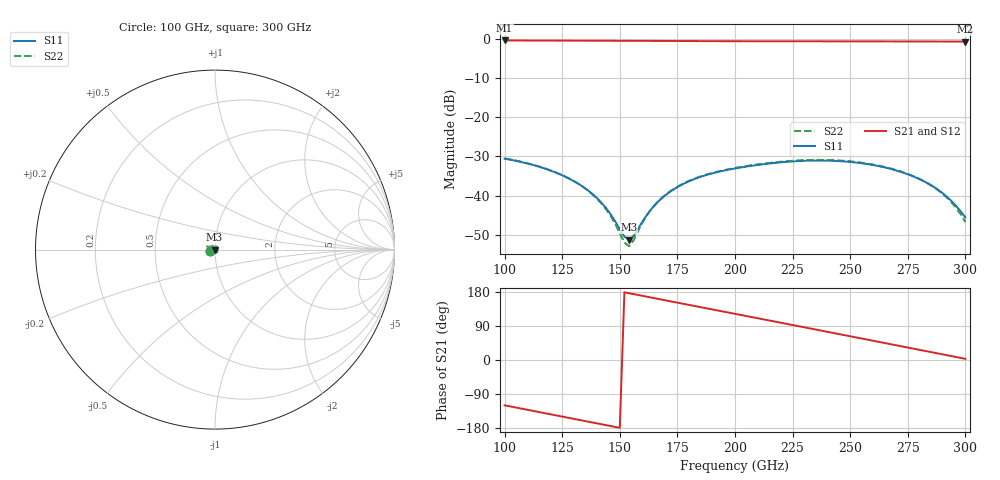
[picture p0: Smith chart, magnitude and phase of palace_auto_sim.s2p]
#  GHZ S DB R 50
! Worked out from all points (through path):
!   101 points, 100 GHz to 300 GHz, reference 50 ohm
!   highest |S21| = -0.44 dB at 100 GHz (marker M1); lowest = -0.7 dB at 300 GHz (marker M2)
!   group delay of S21, straight-line fit = 3.29 ps
!   lowest |S11| = -51.3 dB at 154 GHz (marker M3), VSWR 1.01, Z = 49.7 - j0.0963 ohm
!   |S11| at or under -10 dB: start of sweep to end of sweep
!   |S22| runs from -52.9 to -30.5 dB; largest |S21 - S12| = 1.6e-14
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100  -30.61 -167.3  -0.44 -119.6  -0.44 -119.6  -30.54 -167.0
120  -33.64 165.6  -0.47 -143.4  -0.47 -143.4  -33.61 165.7
134  -37.76 150.0  -0.49 -160.0  -0.49 -160.0  -37.80 149.6
140  -40.60 146.3  -0.50 -167.1  -0.50 -167.1  -40.73 145.1
144  -43.18 146.7  -0.51 -171.9  -0.51 -171.9  -43.45 144.9
148  -46.59 153.5  -0.52 -176.6  -0.52 -176.6  -47.22 150.8
152  -50.49 178.1  -0.53 178.6  -0.53 178.6  -52.00 177.6
154  -51.27 -159.2  -0.53 176.2  -0.53 176.2  -52.93 -154.1
156  -50.33 -137.2  -0.54 173.9  -0.54 173.9  -51.39 -128.3
162  -44.73 -110.1  -0.55 166.7  -0.55 166.7  -44.82 -103.1
168  -40.80 -107.8  -0.56 159.6  -0.56 159.6  -40.74 -102.5
174  -38.20 -111.3  -0.58 152.5  -0.58 152.5  -38.11 -106.8
182  -35.89 -118.7  -0.60 143.0  -0.60 143.0  -35.78 -114.7
200  -33.10 -136.2  -0.63 121.8  -0.63 121.8  -32.98 -132.4
218  -31.65 -152.9  -0.64 100.6  -0.64 100.6  -31.49 -149.4
234  -31.09 -169.3  -0.65 81.6  -0.65 81.6  -30.92 -166.0
250  -31.44 173.1  -0.67 62.6  -0.67 62.6  -31.29 176.0
268  -33.28 153.5  -0.68 41.2  -0.68 41.2  -33.18 155.8
280  -35.79 142.0  -0.70 26.9  -0.70 26.9  -35.76 143.4
288  -38.48 136.9  -0.70 17.4  -0.70 17.4  -38.57 137.1
294  -41.42 137.0  -0.71 10.2  -0.71 10.2  -41.76 135.5
300  -45.60 148.1  -0.72 3.1  -0.72 3.1  -46.77 144.4
